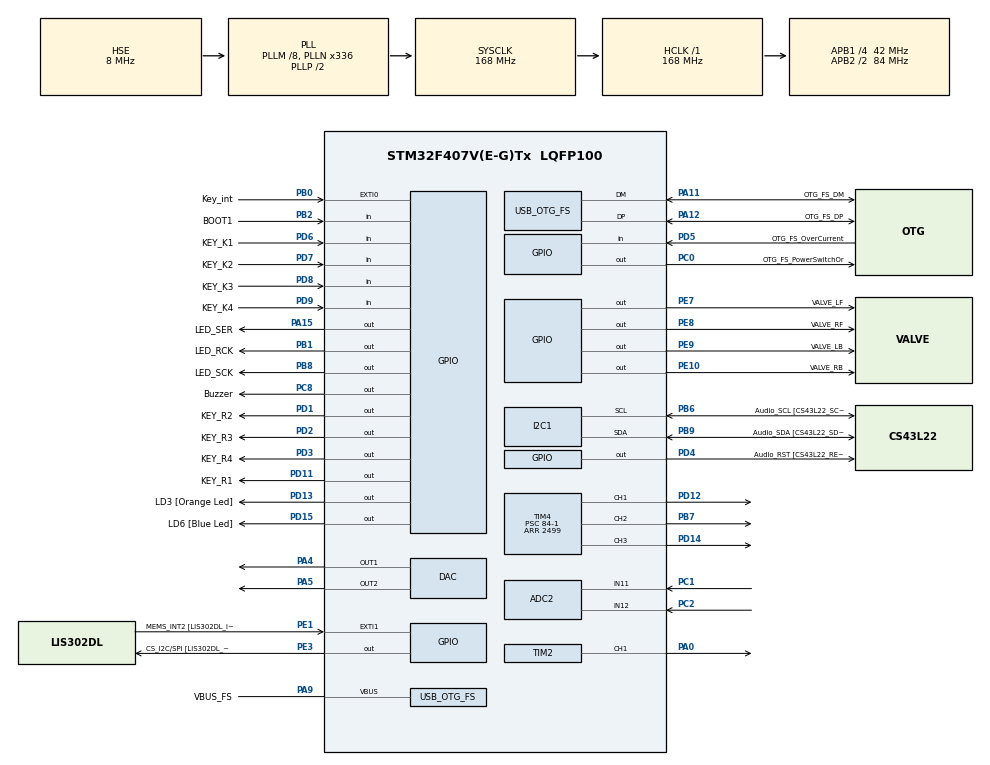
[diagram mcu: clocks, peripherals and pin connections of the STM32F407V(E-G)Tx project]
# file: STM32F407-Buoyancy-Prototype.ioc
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ADC1.Channel-1\#ChannelRegularConversion=ADC_CHANNEL_11
ADC1.NbrOfConversionFlag=1
ADC1.Rank-1\#ChannelRegularConversion=1
ADC1.SamplingTime-1\#ChannelRegularConversion=ADC_SAMPLETIME_3CYCLES
ADC1.master=1
ADC2.Channel-0\#ChannelRegularConversion=ADC_CHANNEL_12
ADC2.NbrOfConversionFlag=1
ADC2.Rank-0\#ChannelRegularConversion=1
ADC2.SamplingTime-0\#ChannelRegularConversion=ADC_SAMPLETIME_3CYCLES
Mcu.Family=STM32F4
Mcu.Name=STM32F407V(E-G)Tx
Mcu.Package=LQFP100
NVIC.EXTI0_IRQn=true\:0\:0\:false\:false\:true\:true\:true\:true
NVIC.OTG_FS_IRQn=true\:0\:0\:false\:false\:true\:true\:true\:true
NVIC.PriorityGroup=NVIC_PRIORITYGROUP_0
NVIC.TIM3_IRQn=true\:0\:0\:false\:false\:true\:true\:true\:true
PA0-WKUP.Signal=S_TIM2_CH1_ETR
PA10.GPIO_Label=OTG_FS_ID
PA10.GPIO_Mode=GPIO_MODE_AF_PP
PA10.GPIO_PuPd=GPIO_NOPULL
PA10.GPIO_Speed=GPIO_SPEED_FREQ_LOW
PA10.Signal=USB_OTG_FS_ID
PA11.GPIO_Label=OTG_FS_DM
PA11.GPIO_Mode=GPIO_MODE_AF_PP
PA11.GPIO_PuPd=GPIO_NOPULL
PA11.GPIO_Speed=GPIO_SPEED_FREQ_LOW
PA11.Mode=Host_Only
PA11.Signal=USB_OTG_FS_DM
PA12.GPIO_Label=OTG_FS_DP
PA12.GPIO_Mode=GPIO_MODE_AF_PP
PA12.GPIO_PuPd=GPIO_NOPULL
PA12.GPIO_Speed=GPIO_SPEED_FREQ_LOW
PA12.Mode=Host_Only
PA12.Signal=USB_OTG_FS_DP
PA13.GPIO_Label=SWDIO
PA13.Mode=Serial_Wire
PA13.Signal=SYS_JTMS-SWDIO
PA14.GPIO_Label=SWCLK
PA14.Mode=Serial_Wire
PA14.Signal=SYS_JTCK-SWCLK
PA15.GPIO_Label=LED_SER
PA15.GPIO_Speed=GPIO_SPEED_FREQ_LOW
PA15.Signal=GPIO_Output
PA4.Signal=COMP_DAC1_group
PA5.Signal=COMP_DAC2_group
PA6.GPIO_Label=SPI1_MISO [LIS302DL_SDO]
PA6.GPIO_Mode=GPIO_MODE_AF_PP
PA6.GPIO_PuPd=GPIO_NOPULL
PA6.GPIO_Speed=GPIO_SPEED_FREQ_LOW
PA6.Signal=SPI1_MISO
PA7.GPIO_Label=SPI1_MOSI [LIS302DL_SDA/SDI/SDO]
PA7.GPIO_Mode=GPIO_MODE_AF_PP
PA7.GPIO_PuPd=GPIO_NOPULL
PA7.GPIO_Speed=GPIO_SPEED_FREQ_LOW
PA7.Signal=SPI1_MOSI
PA9.GPIO_Label=VBUS_FS
PA9.GPIO_Mode=GPIO_MODE_INPUT
PA9.GPIO_PuPd=GPIO_NOPULL
PA9.Mode=Activate_VBUS
PA9.Signal=USB_OTG_FS_VBUS
PB0.GPIO_Label=Key_int
PB0.Signal=GPXTI0
PB1.GPIO_Label=LED_RCK
PB1.GPIO_Speed=GPIO_SPEED_FREQ_LOW
PB1.Signal=GPIO_Output
PB10.GPIO_Label=CLK_IN [MP45DT02_CLK]
PB10.GPIO_Mode=GPIO_MODE_AF_PP
PB10.GPIO_PuPd=GPIO_NOPULL
PB10.GPIO_Speed=GPIO_SPEED_FREQ_LOW
PB10.Signal=I2S2_CK
PB2.GPIO_Label=BOOT1
PB2.GPIO_Mode=GPIO_MODE_INPUT
PB2.GPIO_PuPd=GPIO_NOPULL
PB2.Signal=GPIO_Input
PB3.GPIO_Label=SWO
PB3.Signal=SYS_JTDO-SWO
PB6.GPIO_Label=Audio_SCL [CS43L22_SCL]
PB6.GPIO_Mode=GPIO_MODE_AF_OD
PB6.GPIO_PuPd=GPIO_NOPULL
PB6.GPIO_Speed=GPIO_SPEED_FREQ_LOW
PB6.Mode=I2C
PB6.Signal=I2C1_SCL
PB7.Signal=S_TIM4_CH2
PB8.GPIO_Label=LED_SCK
PB8.Signal=GPIO_Output
PB9.GPIO_Label=Audio_SDA [CS43L22_SDA]
PB9.GPIO_Mode=GPIO_MODE_AF_OD
PB9.GPIO_PuPd=GPIO_NOPULL
PB9.GPIO_Speed=GPIO_SPEED_FREQ_LOW
PB9.Mode=I2C
PB9.Signal=I2C1_SDA
PC0.GPIO_Label=OTG_FS_PowerSwitchOr
PC0.GPIO_PuPd=GPIO_NOPULL
PC0.GPIO_Speed=GPIO_SPEED_FREQ_LOW
PC0.PinState=GPIO_PIN_SET
PC0.Signal=GPIO_Output
PC1.Signal=ADCx_IN11
PC10.GPIO_Label=I2S3_SCK [CS43L22_SCLK]
PC10.GPIO_Mode=GPIO_MODE_AF_PP
PC10.GPIO_PuPd=GPIO_NOPULL
PC10.GPIO_Speed=GPIO_SPEED_FREQ_LOW
PC10.Signal=I2S3_CK
PC12.GPIO_Label=I2S3_SD [CS43L22_SDIN]
PC12.GPIO_Mode=GPIO_MODE_AF_PP
PC12.GPIO_PuPd=GPIO_NOPULL
PC12.GPIO_Speed=GPIO_SPEED_FREQ_LOW
PC12.Signal=I2S3_SD
PC14-OSC32_IN.GPIO_Label=PC14-OSC32_IN
PC14-OSC32_IN.Mode=LSE-External-Oscillator
PC14-OSC32_IN.Signal=RCC_OSC32_IN
PC15-OSC32_OUT.GPIO_Label=PC15-OSC32_OUT
PC15-OSC32_OUT.Mode=LSE-External-Oscillator
PC15-OSC32_OUT.Signal=RCC_OSC32_OUT
PC2.Signal=ADCx_IN12
PC3.GPIO_Label=PDM_OUT [MP45DT02_DOUT]
PC3.GPIO_Mode=GPIO_MODE_AF_PP
PC3.GPIO_PuPd=GPIO_NOPULL
PC3.GPIO_Speed=GPIO_SPEED_FREQ_LOW
PC3.Signal=I2S2_SD
PC7.GPIO_Label=I2S3_MCK [CS43L22_MCLK]
PC7.GPIO_Mode=GPIO_MODE_AF_PP
PC7.GPIO_PuPd=GPIO_NOPULL
PC7.GPIO_Speed=GPIO_SPEED_FREQ_LOW
PC7.Signal=I2S3_MCK
PC8.GPIO_Label=Buzzer
PC8.Signal=GPIO_Output
PD1.GPIO_Label=KEY_R2
PD1.GPIO_Speed=GPIO_SPEED_FREQ_VERY_HIGH
PD1.Signal=GPIO_Output
PD11.GPIO_Label=KEY_R1
PD11.GPIO_Speed=GPIO_SPEED_FREQ_VERY_HIGH
PD11.Signal=GPIO_Output
PD12.Signal=S_TIM4_CH1
PD13.GPIO_Label=LD3 [Orange Led]
PD13.GPIO_PuPd=GPIO_NOPULL
PD13.GPIO_Speed=GPIO_SPEED_FREQ_LOW
PD13.Signal=GPIO_Output
PD14.Signal=S_TIM4_CH3
PD15.GPIO_Label=LD6 [Blue Led]
PD15.GPIO_PuPd=GPIO_NOPULL
PD15.GPIO_Speed=GPIO_SPEED_FREQ_LOW
PD15.Signal=GPIO_Output
PD2.GPIO_Label=KEY_R3
PD2.GPIO_Speed=GPIO_SPEED_FREQ_VERY_HIGH
PD2.Signal=GPIO_Output
PD3.GPIO_Label=KEY_R4
PD3.GPIO_Speed=GPIO_SPEED_FREQ_VERY_HIGH
PD3.Signal=GPIO_Output
PD4.GPIO_Label=Audio_RST [CS43L22_RESET]
PD4.GPIO_PuPd=GPIO_NOPULL
PD4.GPIO_Speed=GPIO_SPEED_FREQ_LOW
PD4.Signal=GPIO_Output
PD5.GPIO_Label=OTG_FS_OverCurrent
PD5.GPIO_Mode=GPIO_MODE_INPUT
PD5.GPIO_PuPd=GPIO_NOPULL
PD5.Signal=GPIO_Input
PD6.GPIO_Label=KEY_K1
PD6.GPIO_PuPd=GPIO_PULLDOWN
PD6.Signal=GPIO_Input
PD7.GPIO_Label=KEY_K2
PD7.GPIO_PuPd=GPIO_PULLDOWN
PD7.Signal=GPIO_Input
PD8.GPIO_Label=KEY_K3
PD8.GPIO_PuPd=GPIO_PULLDOWN
PD8.Signal=GPIO_Input
PD9.GPIO_Label=KEY_K4
PD9.GPIO_PuPd=GPIO_PULLDOWN
PD9.Signal=GPIO_Input
PE1.GPIO_Label=MEMS_INT2 [LIS302DL_INT2]
PE1.GPIO_ModeDefaultEXTI=GPIO_MODE_EVT_RISING
PE1.GPIO_PuPd=GPIO_NOPULL
PE1.Signal=GPXTI1
PE10.GPIO_Label=VALVE_RB
PE10.GPIO_Speed=GPIO_SPEED_FREQ_HIGH
PE10.Signal=GPIO_Output
PE3.GPIO_Label=CS_I2C/SPI [LIS302DL_CS_I2C/SPI]
PE3.GPIO_PuPd=GPIO_NOPULL
PE3.GPIO_Speed=GPIO_SPEED_FREQ_LOW
PE3.Signal=GPIO_Output
PE7.GPIO_Label=VALVE_LF
PE7.GPIO_Speed=GPIO_SPEED_FREQ_HIGH
PE7.Signal=GPIO_Output
PE8.GPIO_Label=VALVE_RF
PE8.GPIO_Speed=GPIO_SPEED_FREQ_HIGH
PE8.Signal=GPIO_Output
PE9.GPIO_Label=VALVE_LB
PE9.GPIO_Speed=GPIO_SPEED_FREQ_HIGH
PE9.Signal=GPIO_Output
PH0-OSC_IN.GPIO_Label=PH0-OSC_IN
PH0-OSC_IN.Mode=HSE-External-Oscillator
PH0-OSC_IN.Signal=RCC_OSC_IN
PH1-OSC_OUT.GPIO_Label=PH1-OSC_OUT
PH1-OSC_OUT.Mode=HSE-External-Oscillator
PH1-OSC_OUT.Signal=RCC_OSC_OUT
ProjectManager.HeapSize=0x200
ProjectManager.StackSize=0x400
ProjectManager.TargetToolchain=CMake
RCC.48MHZClocksFreq_Value=48000000
RCC.AHBFreq_Value=168000000
RCC.APB1CLKDivider=RCC_HCLK_DIV4
RCC.APB1Freq_Value=42000000
RCC.APB1TimFreq_Value=84000000
RCC.APB2CLKDivider=RCC_HCLK_DIV2
RCC.APB2Freq_Value=84000000
RCC.APB2TimFreq_Value=168000000
RCC.CortexFreq_Value=168000000
RCC.HCLKFreq_Value=168000000
RCC.HSE_VALUE=8000000
RCC.HSI_VALUE=16000000
RCC.PLLM=8
RCC.PLLN=336
RCC.PLLQ=7
RCC.SYSCLKFreq_VALUE=168000000
RCC.SYSCLKSource=RCC_SYSCLKSOURCE_PLLCLK
RCC.VCOOutputFreq_Value=336000000
SH.ADCx_IN11.0=ADC2_IN11,IN11
SH.ADCx_IN11.1=ADC1_IN11,IN11
SH.ADCx_IN12.0=ADC2_IN12,IN12
SH.COMP_DAC1_group.0=DAC_OUT1,DAC_OUT1
SH.COMP_DAC2_group.0=DAC_OUT2,DAC_OUT2
SH.S_TIM2_CH1_ETR.0=TIM2_CH1,PWM Generation1 CH1
SH.S_TIM4_CH1.0=TIM4_CH1,PWM Generation1 CH1
SH.S_TIM4_CH2.0=TIM4_CH2,PWM Generation2 CH2
SH.S_TIM4_CH3.0=TIM4_CH3,PWM Generation3 CH3
TIM2.AutoReloadPreload=TIM_AUTORELOAD_PRELOAD_ENABLE
TIM2.Channel-PWM\ Generation1\ CH1=TIM_CHANNEL_1
TIM2.Period=2499
TIM2.Prescaler=84-1
TIM3.AutoReloadPreload=TIM_AUTORELOAD_PRELOAD_ENABLE
TIM3.Period=20000-1
TIM3.Prescaler=8400-1
TIM4.AutoReloadPreload=TIM_AUTORELOAD_PRELOAD_ENABLE
TIM4.Channel-PWM\ Generation1\ CH1=TIM_CHANNEL_1
TIM4.Channel-PWM\ Generation2\ CH2=TIM_CHANNEL_2
TIM4.Channel-PWM\ Generation3\ CH3=TIM_CHANNEL_3
TIM4.Period=2499
TIM4.Prescaler=84-1
USB_OTG_FS.VirtualMode=Host_Only
USB_OTG_FS.phy_itface=HCD_PHY_EMBEDDED
VP_TIM2_VS_ClockSourceINT.Mode=Internal
VP_TIM3_VS_ClockSourceINT.Mode=Internal
VP_TIM4_VS_ClockSourceINT.Mode=Internal
board=STM32F407G-DISC1

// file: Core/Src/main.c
/* USER CODE BEGIN Header */
/**
  ******************************************************************************
  * @file           : main.c
  * @brief          : Main program body
  ******************************************************************************
  * @attention  	: example AD DA VEPROF2B 2020
  * 				: read the manual DATASHEET CORTEX M4-BOARD
  * 				: Timer 3 interrupt and DUAL AD DA
  * @author			: J.F van der Bent
  * <h2><center>&copy; Copyright (c) 2020 STMicroelectronics.
  * All rights reserved.</center></h2>
  *
  * This software component is licensed by ST under Ultimate Liberty license
  * SLA0044, the "License"; You may not use this file except in compliance with
  * the License. You may obtain a copy of the License at:
  *                             www.st.com/SLA0044
  *
  ******************************************************************************
  */
/* USER CODE END Header */
#include "main.h"

ADC_HandleTypeDef hadc1;
ADC_HandleTypeDef hadc2;

DAC_HandleTypeDef hdac;

I2C_HandleTypeDef hi2c1;

TIM_HandleTypeDef htim2;
TIM_HandleTypeDef htim3;
TIM_HandleTypeDef htim4;

HCD_HandleTypeDef hhcd_USB_OTG_FS;

/* USER CODE BEGIN PV */
volatile int value1,value2; // left channel, right channel values

volatile bool aKeyIsPressed = false;
volatile int ARM_key = 0;

/* USER CODE END PV */

void SystemClock_Config(void);
static void MX_GPIO_Init(void);
static void MX_I2C1_Init(void);
static void MX_ADC1_Init(void);
static void MX_ADC2_Init(void);
static void MX_DAC_Init(void);
static void MX_TIM3_Init(void);
static void MX_USB_OTG_FS_HCD_Init(void);
static void MX_TIM2_Init(void);
static void MX_TIM4_Init(void);

int main(void)
{

  /* MCU Configuration--------------------------------------------------------*/

  /* Reset of all peripherals, Initializes the Flash interface and the Systick. */
  HAL_Init();

  /* Configure the system clock */
  SystemClock_Config();

  /* Initialize all configured peripherals */
  MX_GPIO_Init();
  MX_I2C1_Init();
  MX_ADC1_Init();
  MX_ADC2_Init();
  MX_DAC_Init();
  MX_TIM3_Init();
  MX_USB_OTG_FS_HCD_Init();
  MX_TIM2_Init();
  MX_TIM4_Init();
  /* USER CODE BEGIN 2 */
  HAL_TIM_Base_Start_IT(&htim3);				// start the interrupt timer 3

  HAL_TIM_PWM_Start(&htim2, TIM_CHANNEL_1); // PA0
  HAL_TIM_PWM_Start(&htim4, TIM_CHANNEL_1); // J5
  HAL_TIM_PWM_Start(&htim4, TIM_CHANNEL_2); //
  HAL_TIM_PWM_Start(&htim4, TIM_CHANNEL_3); // J6

  LED_init();
  KEYS_initISR(1); // set all lines high once

  TIM4->CCR1 = 1250; // 50% duty cycle (2499 / 2) // PD12 J5
  HAL_Delay(1500);
  /* USER CODE END 2 */

  /* Infinite loop */
  while (1)
  {

    /* USER CODE BEGIN 3 */
    // int i, leds;
    // leds = 1;
		// for (i=0; i<8; i++, leds<<=1)
    // {
    //   LED_put(leds); // set leds
    //   HAL_Delay(100);
    // }
    unsigned short led_state = 0x00; // Initialize LED state

    // Turn on and off LD8 LD7 LD6 LD5
    if (aKeyIsPressed)
    {
      switch (ARM_key)
      {
        case key_1:
            led_state = 0x01; // Turn on LD8
            HAL_GPIO_WritePin(VALVE_LF_GPIO_Port, VALVE_LF_Pin, GPIO_PIN_SET);
            break;
        case key_2:
            led_state = 0x02; // Turn on LD7
            HAL_GPIO_WritePin(VALVE_RF_GPIO_Port, VALVE_RF_Pin, GPIO_PIN_SET);
            break;
        case key_3:
            led_state = 0x04; // Turn on LD6
            HAL_GPIO_WritePin(VALVE_LB_GPIO_Port, VALVE_LB_Pin, GPIO_PIN_SET);
            break;
        case key_a:
            led_state = 0x08; // Turn on LD5
            HAL_GPIO_WritePin(VALVE_RB_GPIO_Port, VALVE_RB_Pin, GPIO_PIN_SET);
            break;
        case key_4:
            led_state &= 0x01; // Turn off LD8
            HAL_GPIO_WritePin(VALVE_LF_GPIO_Port, VALVE_LF_Pin, GPIO_PIN_RESET);
            break;
        case key_5:
            led_state &= 0x02; // Turn off LD7
            HAL_GPIO_WritePin(VALVE_RF_GPIO_Port, VALVE_RF_Pin, GPIO_PIN_RESET);
            break;
        case key_6:
            led_state &= 0x04; // Turn off LD6
            HAL_GPIO_WritePin(VALVE_LB_GPIO_Port, VALVE_LB_Pin, GPIO_PIN_RESET);
            break;
        case key_b:
            led_state &= 0x08; // Turn off LD5
            HAL_GPIO_WritePin(VALVE_RB_GPIO_Port, VALVE_RB_Pin, GPIO_PIN_RESET);
            break;
      default:
        break;
      }
      LED_put(led_state);
    }

    TIM2->CCR1 = 1250; // 50% duty cycle (2499 / 2) // PA0
    TIM4->CCR1 = 1250; // 50% duty cycle (2499 / 2) // PD12 J5
    TIM4->CCR2 = 1250; // 50% duty cycle (2499 / 2)
    TIM4->CCR3 = 1250; // 50% duty cycle (2499 / 2) // PD14 J6
    // HAL_GPIO_WritePin(VALVE_LF_GPIO_Port, VALVE_LF_Pin, GPIO_PIN_RESET);
    // HAL_Delay(1000);
    // HAL_GPIO_WritePin(VALVE_LF_GPIO_Port, VALVE_LF_Pin, GPIO_PIN_SET);
  }

  /* USER CODE END 3 */
}

void SystemClock_Config(void)
{
  RCC_OscInitTypeDef RCC_OscInitStruct = {0};
  RCC_ClkInitTypeDef RCC_ClkInitStruct = {0};

  /** Configure the main internal regulator output voltage
  */
  __HAL_RCC_PWR_CLK_ENABLE();
  __HAL_PWR_VOLTAGESCALING_CONFIG(PWR_REGULATOR_VOLTAGE_SCALE1);

  /** Initializes the RCC Oscillators according to the specified parameters
  * in the RCC_OscInitTypeDef structure.
  */
  RCC_OscInitStruct.OscillatorType = RCC_OSCILLATORTYPE_HSE;
  RCC_OscInitStruct.HSEState = RCC_HSE_ON;
  RCC_OscInitStruct.PLL.PLLState = RCC_PLL_ON;
  RCC_OscInitStruct.PLL.PLLSource = RCC_PLLSOURCE_HSE;
  RCC_OscInitStruct.PLL.PLLM = 8;
  RCC_OscInitStruct.PLL.PLLN = 336;
  RCC_OscInitStruct.PLL.PLLP = RCC_PLLP_DIV2;
  RCC_OscInitStruct.PLL.PLLQ = 7;
  if (HAL_RCC_OscConfig(&RCC_OscInitStruct) != HAL_OK)
  {
    Error_Handler();
  }

  /** Initializes the CPU, AHB and APB buses clocks
  */
  RCC_ClkInitStruct.ClockType = RCC_CLOCKTYPE_HCLK|RCC_CLOCKTYPE_SYSCLK
                              |RCC_CLOCKTYPE_PCLK1|RCC_CLOCKTYPE_PCLK2;
  RCC_ClkInitStruct.SYSCLKSource = RCC_SYSCLKSOURCE_PLLCLK;
  RCC_ClkInitStruct.AHBCLKDivider = RCC_SYSCLK_DIV1;
  RCC_ClkInitStruct.APB1CLKDivider = RCC_HCLK_DIV4;
  RCC_ClkInitStruct.APB2CLKDivider = RCC_HCLK_DIV2;

  if (HAL_RCC_ClockConfig(&RCC_ClkInitStruct, FLASH_LATENCY_5) != HAL_OK)
  {
    Error_Handler();
  }
}

static void MX_ADC1_Init(void)
{

  ADC_ChannelConfTypeDef sConfig = {0};

  /** Configure the global features of the ADC (Clock, Resolution, Data Alignment and number of conversion)
  */
  hadc1.Instance = ADC1;
  hadc1.Init.ClockPrescaler = ADC_CLOCK_SYNC_PCLK_DIV4;
  hadc1.Init.Resolution = ADC_RESOLUTION_12B;
  hadc1.Init.ScanConvMode = DISABLE;
  hadc1.Init.ContinuousConvMode = DISABLE;
  hadc1.Init.DiscontinuousConvMode = DISABLE;
  hadc1.Init.ExternalTrigConvEdge = ADC_EXTERNALTRIGCONVEDGE_NONE;
  hadc1.Init.ExternalTrigConv = ADC_SOFTWARE_START;
  hadc1.Init.DataAlign = ADC_DATAALIGN_RIGHT;
  hadc1.Init.NbrOfConversion = 1;
  hadc1.Init.DMAContinuousRequests = DISABLE;
  hadc1.Init.EOCSelection = ADC_EOC_SINGLE_CONV;
  if (HAL_ADC_Init(&hadc1) != HAL_OK)
  {
    Error_Handler();
  }

  /** Configure for the selected ADC regular channel its corresponding rank in the sequencer and its sample time.
  */
  sConfig.Channel = ADC_CHANNEL_11;
  sConfig.Rank = 1;
  sConfig.SamplingTime = ADC_SAMPLETIME_3CYCLES;
  if (HAL_ADC_ConfigChannel(&hadc1, &sConfig) != HAL_OK)
  {
    Error_Handler();
  }

}

static void MX_ADC2_Init(void)
{

  ADC_ChannelConfTypeDef sConfig = {0};

  /** Configure the global features of the ADC (Clock, Resolution, Data Alignment and number of conversion)
  */
  hadc2.Instance = ADC2;
  hadc2.Init.ClockPrescaler = ADC_CLOCK_SYNC_PCLK_DIV4;
  hadc2.Init.Resolution = ADC_RESOLUTION_12B;
  hadc2.Init.ScanConvMode = DISABLE;
  hadc2.Init.ContinuousConvMode = DISABLE;
  hadc2.Init.DiscontinuousConvMode = DISABLE;
  hadc2.Init.ExternalTrigConvEdge = ADC_EXTERNALTRIGCONVEDGE_NONE;
  hadc2.Init.ExternalTrigConv = ADC_SOFTWARE_START;
  hadc2.Init.DataAlign = ADC_DATAALIGN_RIGHT;
  hadc2.Init.NbrOfConversion = 1;
  hadc2.Init.DMAContinuousRequests = DISABLE;
  hadc2.Init.EOCSelection = ADC_EOC_SINGLE_CONV;
  if (HAL_ADC_Init(&hadc2) != HAL_OK)
  {
    Error_Handler();
  }

  /** Configure for the selected ADC regular channel its corresponding rank in the sequencer and its sample time.
  */
  sConfig.Channel = ADC_CHANNEL_12;
  sConfig.Rank = 1;
  sConfig.SamplingTime = ADC_SAMPLETIME_3CYCLES;
  if (HAL_ADC_ConfigChannel(&hadc2, &sConfig) != HAL_OK)
  {
    Error_Handler();
  }

}

static void MX_DAC_Init(void)
{

  DAC_ChannelConfTypeDef sConfig = {0};

  /** DAC Initialization
  */
  hdac.Instance = DAC;
  if (HAL_DAC_Init(&hdac) != HAL_OK)
  {
    Error_Handler();
  }

  /** DAC channel OUT1 config
  */
  sConfig.DAC_Trigger = DAC_TRIGGER_NONE;
  sConfig.DAC_OutputBuffer = DAC_OUTPUTBUFFER_ENABLE;
  if (HAL_DAC_ConfigChannel(&hdac, &sConfig, DAC_CHANNEL_1) != HAL_OK)
  {
    Error_Handler();
  }

  /** DAC channel OUT2 config
  */
  if (HAL_DAC_ConfigChannel(&hdac, &sConfig, DAC_CHANNEL_2) != HAL_OK)
  {
    Error_Handler();
  }

}

static void MX_I2C1_Init(void)
{

  hi2c1.Instance = I2C1;
  hi2c1.Init.ClockSpeed = 100000;
  hi2c1.Init.DutyCycle = I2C_DUTYCYCLE_2;
  hi2c1.Init.OwnAddress1 = 0;
  hi2c1.Init.AddressingMode = I2C_ADDRESSINGMODE_7BIT;
  hi2c1.Init.DualAddressMode = I2C_DUALADDRESS_DISABLE;
  hi2c1.Init.OwnAddress2 = 0;
  hi2c1.Init.GeneralCallMode = I2C_GENERALCALL_DISABLE;
  hi2c1.Init.NoStretchMode = I2C_NOSTRETCH_DISABLE;
  if (HAL_I2C_Init(&hi2c1) != HAL_OK)
  {
    Error_Handler();
  }

}

static void MX_TIM2_Init(void)
{

  TIM_ClockConfigTypeDef sClockSourceConfig = {0};
  TIM_MasterConfigTypeDef sMasterConfig = {0};
  TIM_OC_InitTypeDef sConfigOC = {0};

  htim2.Instance = TIM2;
  htim2.Init.Prescaler = 84-1;
  htim2.Init.CounterMode = TIM_COUNTERMODE_UP;
  htim2.Init.Period = 2499;
  htim2.Init.ClockDivision = TIM_CLOCKDIVISION_DIV1;
  htim2.Init.AutoReloadPreload = TIM_AUTORELOAD_PRELOAD_ENABLE;
  if (HAL_TIM_Base_Init(&htim2) != HAL_OK)
  {
    Error_Handler();
  }
  sClockSourceConfig.ClockSource = TIM_CLOCKSOURCE_INTERNAL;
  if (HAL_TIM_ConfigClockSource(&htim2, &sClockSourceConfig) != HAL_OK)
  {
    Error_Handler();
  }
  if (HAL_TIM_PWM_Init(&htim2) != HAL_OK)
  {
    Error_Handler();
  }
  sMasterConfig.MasterOutputTrigger = TIM_TRGO_RESET;
  sMasterConfig.MasterSlaveMode = TIM_MASTERSLAVEMODE_DISABLE;
  if (HAL_TIMEx_MasterConfigSynchronization(&htim2, &sMasterConfig) != HAL_OK)
  {
    Error_Handler();
  }
  sConfigOC.OCMode = TIM_OCMODE_PWM1;
  sConfigOC.Pulse = 0;
  sConfigOC.OCPolarity = TIM_OCPOLARITY_HIGH;
  sConfigOC.OCFastMode = TIM_OCFAST_DISABLE;
  if (HAL_TIM_PWM_ConfigChannel(&htim2, &sConfigOC, TIM_CHANNEL_1) != HAL_OK)
  {
    Error_Handler();
  }
  HAL_TIM_MspPostInit(&htim2);

}

static void MX_TIM3_Init(void)
{

  /* USER CODE BEGIN TIM3_Init 0 */
	// note that the APB timerclock is used. In this example 168MHz/2 = 84MHz
  /* USER CODE END TIM3_Init 0 */

  TIM_ClockConfigTypeDef sClockSourceConfig = {0};
  TIM_MasterConfigTypeDef sMasterConfig = {0};

  /* USER CODE BEGIN TIM3_Init 1 */
  // timer 0.1 sec = 1000*8400 / 84000
  /* USER CODE END TIM3_Init 1 */
  htim3.Instance = TIM3;
  htim3.Init.Prescaler = 8400-1;
  htim3.Init.CounterMode = TIM_COUNTERMODE_UP;
  htim3.Init.Period = 20000-1;
  htim3.Init.ClockDivision = TIM_CLOCKDIVISION_DIV1;
  htim3.Init.AutoReloadPreload = TIM_AUTORELOAD_PRELOAD_ENABLE;
  if (HAL_TIM_Base_Init(&htim3) != HAL_OK)
  {
    Error_Handler();
  }
  sClockSourceConfig.ClockSource = TIM_CLOCKSOURCE_INTERNAL;
  if (HAL_TIM_ConfigClockSource(&htim3, &sClockSourceConfig) != HAL_OK)
  {
    Error_Handler();
  }
  sMasterConfig.MasterOutputTrigger = TIM_TRGO_RESET;
  sMasterConfig.MasterSlaveMode = TIM_MASTERSLAVEMODE_DISABLE;
  if (HAL_TIMEx_MasterConfigSynchronization(&htim3, &sMasterConfig) != HAL_OK)
  {
    Error_Handler();
  }

}

static void MX_TIM4_Init(void)
{

  TIM_ClockConfigTypeDef sClockSourceConfig = {0};
  TIM_MasterConfigTypeDef sMasterConfig = {0};
  TIM_OC_InitTypeDef sConfigOC = {0};

  htim4.Instance = TIM4;
  htim4.Init.Prescaler = 84-1;
  htim4.Init.CounterMode = TIM_COUNTERMODE_UP;
  htim4.Init.Period = 2499;
  htim4.Init.ClockDivision = TIM_CLOCKDIVISION_DIV1;
  htim4.Init.AutoReloadPreload = TIM_AUTORELOAD_PRELOAD_ENABLE;
  if (HAL_TIM_Base_Init(&htim4) != HAL_OK)
  {
    Error_Handler();
  }
  sClockSourceConfig.ClockSource = TIM_CLOCKSOURCE_INTERNAL;
  if (HAL_TIM_ConfigClockSource(&htim4, &sClockSourceConfig) != HAL_OK)
  {
    Error_Handler();
  }
  if (HAL_TIM_PWM_Init(&htim4) != HAL_OK)
  {
    Error_Handler();
  }
  sMasterConfig.MasterOutputTrigger = TIM_TRGO_RESET;
  sMasterConfig.MasterSlaveMode = TIM_MASTERSLAVEMODE_DISABLE;
  if (HAL_TIMEx_MasterConfigSynchronization(&htim4, &sMasterConfig) != HAL_OK)
  {
    Error_Handler();
  }
  sConfigOC.OCMode = TIM_OCMODE_PWM1;
  sConfigOC.Pulse = 0;
  sConfigOC.OCPolarity = TIM_OCPOLARITY_HIGH;
  sConfigOC.OCFastMode = TIM_OCFAST_DISABLE;
  if (HAL_TIM_PWM_ConfigChannel(&htim4, &sConfigOC, TIM_CHANNEL_1) != HAL_OK)
  {
    Error_Handler();
  }
  if (HAL_TIM_PWM_ConfigChannel(&htim4, &sConfigOC, TIM_CHANNEL_2) != HAL_OK)
  {
    Error_Handler();
  }
  if (HAL_TIM_PWM_ConfigChannel(&htim4, &sConfigOC, TIM_CHANNEL_3) != HAL_OK)
  {
    Error_Handler();
  }
  HAL_TIM_MspPostInit(&htim4);

}

static void MX_USB_OTG_FS_HCD_Init(void)
{

  hhcd_USB_OTG_FS.Instance = USB_OTG_FS;
  hhcd_USB_OTG_FS.Init.Host_channels = 8;
  hhcd_USB_OTG_FS.Init.speed = HCD_SPEED_FULL;
  hhcd_USB_OTG_FS.Init.dma_enable = DISABLE;
  hhcd_USB_OTG_FS.Init.phy_itface = HCD_PHY_EMBEDDED;
  hhcd_USB_OTG_FS.Init.Sof_enable = DISABLE;
  if (HAL_HCD_Init(&hhcd_USB_OTG_FS) != HAL_OK)
  {
    Error_Handler();
  }

}

static void MX_GPIO_Init(void)
{
  GPIO_InitTypeDef GPIO_InitStruct = {0};

  /* GPIO Ports Clock Enable */
  __HAL_RCC_GPIOE_CLK_ENABLE();
  __HAL_RCC_GPIOC_CLK_ENABLE();
  __HAL_RCC_GPIOH_CLK_ENABLE();
  __HAL_RCC_GPIOA_CLK_ENABLE();
  __HAL_RCC_GPIOB_CLK_ENABLE();
  __HAL_RCC_GPIOD_CLK_ENABLE();

  /*Configure GPIO pin Output Level */
  HAL_GPIO_WritePin(GPIOE, CS_I2C_SPI_Pin|VALVE_LF_Pin|VALVE_RF_Pin|VALVE_LB_Pin
                          |VALVE_RB_Pin, GPIO_PIN_RESET);

  /*Configure GPIO pin Output Level */
  HAL_GPIO_WritePin(OTG_FS_PowerSwitchOr_GPIO_Port, OTG_FS_PowerSwitchOr_Pin, GPIO_PIN_SET);

  /*Configure GPIO pin Output Level */
  HAL_GPIO_WritePin(GPIOB, LED_RCK_Pin|LED_SCK_Pin, GPIO_PIN_RESET);

  /*Configure GPIO pin Output Level */
  HAL_GPIO_WritePin(GPIOD, KEY_R1_Pin|LD3_Pin|LD6_Pin|KEY_R2_Pin
                          |KEY_R3_Pin|KEY_R4_Pin|Audio_RST_Pin, GPIO_PIN_RESET);

  /*Configure GPIO pin Output Level */
  HAL_GPIO_WritePin(Buzzer_GPIO_Port, Buzzer_Pin, GPIO_PIN_RESET);

  /*Configure GPIO pin Output Level */
  HAL_GPIO_WritePin(LED_SER_GPIO_Port, LED_SER_Pin, GPIO_PIN_RESET);

  /*Configure GPIO pin : CS_I2C_SPI_Pin */
  GPIO_InitStruct.Pin = CS_I2C_SPI_Pin;
  GPIO_InitStruct.Mode = GPIO_MODE_OUTPUT_PP;
  GPIO_InitStruct.Pull = GPIO_NOPULL;
  GPIO_InitStruct.Speed = GPIO_SPEED_FREQ_LOW;
  HAL_GPIO_Init(CS_I2C_SPI_GPIO_Port, &GPIO_InitStruct);

  /*Configure GPIO pins : OTG_FS_PowerSwitchOr_Pin Buzzer_Pin */
  GPIO_InitStruct.Pin = OTG_FS_PowerSwitchOr_Pin|Buzzer_Pin;
  GPIO_InitStruct.Mode = GPIO_MODE_OUTPUT_PP;
  GPIO_InitStruct.Pull = GPIO_NOPULL;
  GPIO_InitStruct.Speed = GPIO_SPEED_FREQ_LOW;
  HAL_GPIO_Init(GPIOC, &GPIO_InitStruct);

  /*Configure GPIO pin : PDM_OUT_Pin */
  GPIO_InitStruct.Pin = PDM_OUT_Pin;
  GPIO_InitStruct.Mode = GPIO_MODE_AF_PP;
  GPIO_InitStruct.Pull = GPIO_NOPULL;
  GPIO_InitStruct.Speed = GPIO_SPEED_FREQ_LOW;
  GPIO_InitStruct.Alternate = GPIO_AF5_SPI2;
  HAL_GPIO_Init(PDM_OUT_GPIO_Port, &GPIO_InitStruct);

  /*Configure GPIO pins : SPI1_MISO_Pin SPI1_MOSI_Pin */
  GPIO_InitStruct.Pin = SPI1_MISO_Pin|SPI1_MOSI_Pin;
  GPIO_InitStruct.Mode = GPIO_MODE_AF_PP;
  GPIO_InitStruct.Pull = GPIO_NOPULL;
  GPIO_InitStruct.Speed = GPIO_SPEED_FREQ_LOW;
  GPIO_InitStruct.Alternate = GPIO_AF5_SPI1;
  HAL_GPIO_Init(GPIOA, &GPIO_InitStruct);

  /*Configure GPIO pin : Key_int_Pin */
  GPIO_InitStruct.Pin = Key_int_Pin;
  GPIO_InitStruct.Mode = GPIO_MODE_IT_RISING;
  GPIO_InitStruct.Pull = GPIO_NOPULL;
  HAL_GPIO_Init(Key_int_GPIO_Port, &GPIO_InitStruct);

  /*Configure GPIO pins : LED_RCK_Pin LED_SCK_Pin */
  GPIO_InitStruct.Pin = LED_RCK_Pin|LED_SCK_Pin;
  GPIO_InitStruct.Mode = GPIO_MODE_OUTPUT_PP;
  GPIO_InitStruct.Pull = GPIO_NOPULL;
  GPIO_InitStruct.Speed = GPIO_SPEED_FREQ_LOW;
  HAL_GPIO_Init(GPIOB, &GPIO_InitStruct);

  /*Configure GPIO pin : BOOT1_Pin */
  GPIO_InitStruct.Pin = BOOT1_Pin;
  GPIO_InitStruct.Mode = GPIO_MODE_INPUT;
  GPIO_InitStruct.Pull = GPIO_NOPULL;
  HAL_GPIO_Init(BOOT1_GPIO_Port, &GPIO_InitStruct);

  /*Configure GPIO pins : VALVE_LF_Pin VALVE_RF_Pin VALVE_LB_Pin VALVE_RB_Pin */
  GPIO_InitStruct.Pin = VALVE_LF_Pin|VALVE_RF_Pin|VALVE_LB_Pin|VALVE_RB_Pin;
  GPIO_InitStruct.Mode = GPIO_MODE_OUTPUT_PP;
  GPIO_InitStruct.Pull = GPIO_NOPULL;
  GPIO_InitStruct.Speed = GPIO_SPEED_FREQ_HIGH;
  HAL_GPIO_Init(GPIOE, &GPIO_InitStruct);

  /*Configure GPIO pin : CLK_IN_Pin */
  GPIO_InitStruct.Pin = CLK_IN_Pin;
  GPIO_InitStruct.Mode = GPIO_MODE_AF_PP;
  GPIO_InitStruct.Pull = GPIO_NOPULL;
  GPIO_InitStruct.Speed = GPIO_SPEED_FREQ_LOW;
  GPIO_InitStruct.Alternate = GPIO_AF5_SPI2;
  HAL_GPIO_Init(CLK_IN_GPIO_Port, &GPIO_InitStruct);

  /*Configure GPIO pins : KEY_K3_Pin KEY_K4_Pin KEY_K1_Pin KEY_K2_Pin */
  GPIO_InitStruct.Pin = KEY_K3_Pin|KEY_K4_Pin|KEY_K1_Pin|KEY_K2_Pin;
  GPIO_InitStruct.Mode = GPIO_MODE_INPUT;
  GPIO_InitStruct.Pull = GPIO_PULLDOWN;
  HAL_GPIO_Init(GPIOD, &GPIO_InitStruct);

  /*Configure GPIO pins : KEY_R1_Pin KEY_R2_Pin KEY_R3_Pin KEY_R4_Pin */
  GPIO_InitStruct.Pin = KEY_R1_Pin|KEY_R2_Pin|KEY_R3_Pin|KEY_R4_Pin;
  GPIO_InitStruct.Mode = GPIO_MODE_OUTPUT_PP;
  GPIO_InitStruct.Pull = GPIO_NOPULL;
  GPIO_InitStruct.Speed = GPIO_SPEED_FREQ_VERY_HIGH;
  HAL_GPIO_Init(GPIOD, &GPIO_InitStruct);

  /*Configure GPIO pins : LD3_Pin LD6_Pin Audio_RST_Pin */
  GPIO_InitStruct.Pin = LD3_Pin|LD6_Pin|Audio_RST_Pin;
  GPIO_InitStruct.Mode = GPIO_MODE_OUTPUT_PP;
  GPIO_InitStruct.Pull = GPIO_NOPULL;
  GPIO_InitStruct.Speed = GPIO_SPEED_FREQ_LOW;
  HAL_GPIO_Init(GPIOD, &GPIO_InitStruct);

  /*Configure GPIO pins : I2S3_MCK_Pin I2S3_SCK_Pin I2S3_SD_Pin */
  GPIO_InitStruct.Pin = I2S3_MCK_Pin|I2S3_SCK_Pin|I2S3_SD_Pin;
  GPIO_InitStruct.Mode = GPIO_MODE_AF_PP;
  GPIO_InitStruct.Pull = GPIO_NOPULL;
  GPIO_InitStruct.Speed = GPIO_SPEED_FREQ_LOW;
  GPIO_InitStruct.Alternate = GPIO_AF6_SPI3;
  HAL_GPIO_Init(GPIOC, &GPIO_InitStruct);

  /*Configure GPIO pin : LED_SER_Pin */
  GPIO_InitStruct.Pin = LED_SER_Pin;
  GPIO_InitStruct.Mode = GPIO_MODE_OUTPUT_PP;
  GPIO_InitStruct.Pull = GPIO_NOPULL;
  GPIO_InitStruct.Speed = GPIO_SPEED_FREQ_LOW;
  HAL_GPIO_Init(LED_SER_GPIO_Port, &GPIO_InitStruct);

  /*Configure GPIO pin : OTG_FS_OverCurrent_Pin */
  GPIO_InitStruct.Pin = OTG_FS_OverCurrent_Pin;
  GPIO_InitStruct.Mode = GPIO_MODE_INPUT;
  GPIO_InitStruct.Pull = GPIO_NOPULL;
  HAL_GPIO_Init(OTG_FS_OverCurrent_GPIO_Port, &GPIO_InitStruct);

  /*Configure GPIO pin : MEMS_INT2_Pin */
  GPIO_InitStruct.Pin = MEMS_INT2_Pin;
  GPIO_InitStruct.Mode = GPIO_MODE_EVT_RISING;
  GPIO_InitStruct.Pull = GPIO_NOPULL;
  HAL_GPIO_Init(MEMS_INT2_GPIO_Port, &GPIO_InitStruct);

  /* EXTI interrupt init*/
  HAL_NVIC_SetPriority(EXTI0_IRQn, 0, 0);
  HAL_NVIC_EnableIRQ(EXTI0_IRQn);

}

void Error_Handler(void)
{
}
